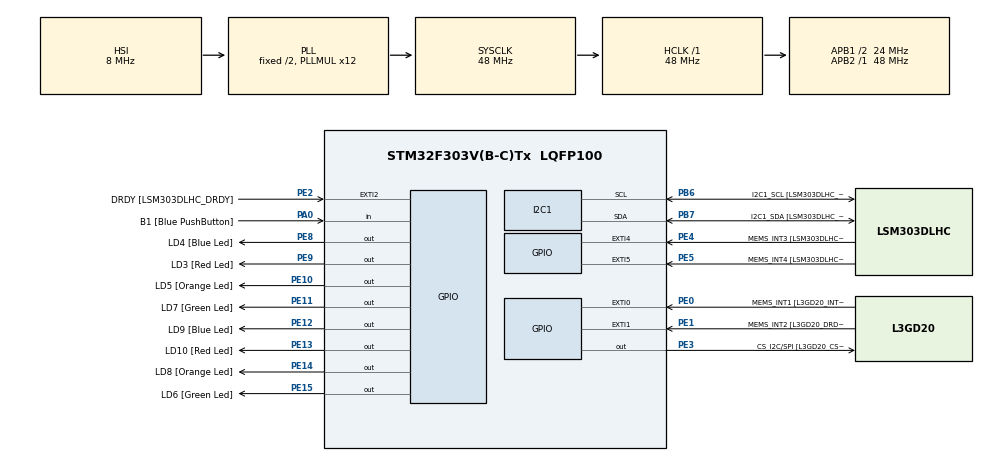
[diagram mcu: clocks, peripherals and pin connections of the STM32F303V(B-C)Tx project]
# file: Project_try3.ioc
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Mcu.Family=STM32F3
Mcu.Name=STM32F303V(B-C)Tx
Mcu.Package=LQFP100
NVIC.PriorityGroup=NVIC_PRIORITYGROUP_0
PA0.GPIO_Label=B1 [Blue PushButton]
PA0.GPIO_Mode=GPIO_MODE_INPUT
PA0.GPIO_PuPd=GPIO_NOPULL
PA0.Signal=GPIO_Input
PA11.GPIO_Label=DM
PA11.Signal=USB_DM
PA12.GPIO_Label=DP
PA12.Signal=USB_DP
PA13.GPIO_Label=SWDIO
PA13.Signal=SYS_JTMS-SWDIO
PA14.GPIO_Label=SWCLK
PA14.Signal=SYS_JTCK-SWCLK
PA5.GPIO_Label=SPI1_SCK [L3GD20_SCL/SPC]
PA5.GPIO_Mode=GPIO_MODE_AF_PP
PA5.GPIO_PuPd=GPIO_NOPULL
PA5.GPIO_Speed=GPIO_SPEED_FREQ_LOW
PA5.Signal=SPI1_SCK
PA6.GPIO_Label=SPI1_MISO [L3GD20_SA0/SDO]
PA6.GPIO_Mode=GPIO_MODE_AF_PP
PA6.GPIO_PuPd=GPIO_NOPULL
PA6.GPIO_Speed=GPIO_SPEED_FREQ_LOW
PA6.Signal=SPI1_MISO
PA7.GPIO_Label=SPI1_MISO [L3GD20_SDA/SDI/SDO]
PA7.GPIO_Mode=GPIO_MODE_AF_PP
PA7.GPIO_PuPd=GPIO_NOPULL
PA7.GPIO_Speed=GPIO_SPEED_FREQ_LOW
PA7.Signal=SPI1_MOSI
PB3.GPIO_Label=SWO
PB3.Signal=SYS_JTDO-TRACESWO
PB6.GPIO_FM6=__NULL
PB6.GPIO_Label=I2C1_SCL [LSM303DLHC_SCL]
PB6.GPIO_Mode=GPIO_MODE_AF_OD
PB6.GPIO_PuPd=GPIO_NOPULL
PB6.GPIO_Speed=GPIO_SPEED_FREQ_LOW
PB6.Mode=I2C
PB6.Signal=I2C1_SCL
PB7.GPIO_FM7=__NULL
PB7.GPIO_Label=I2C1_SDA [LSM303DLHC_SDA]
PB7.GPIO_Mode=GPIO_MODE_AF_OD
PB7.GPIO_PuPd=GPIO_NOPULL
PB7.GPIO_Speed=GPIO_SPEED_FREQ_LOW
PB7.Mode=I2C
PB7.Signal=I2C1_SDA
PC14-OSC32_IN.GPIO_Label=OSC32_IN
PC14-OSC32_IN.Signal=RCC_OSC32_IN
PC15-OSC32_OUT.GPIO_Label=OSC32_OUT
PC15-OSC32_OUT.Signal=RCC_OSC32_OUT
PE0.GPIO_Label=MEMS_INT1 [L3GD20_INT1]
PE0.GPIO_ModeDefaultEXTI=GPIO_MODE_EVT_RISING
PE0.GPIO_PuPd=GPIO_NOPULL
PE0.Signal=GPXTI0
PE1.GPIO_Label=MEMS_INT2 [L3GD20_DRDY/INT2]
PE1.GPIO_ModeDefaultEXTI=GPIO_MODE_EVT_RISING
PE1.GPIO_PuPd=GPIO_NOPULL
PE1.Signal=GPXTI1
PE10.GPIO_Label=LD5 [Orange Led]
PE10.GPIO_ModeDefaultOutputPP=GPIO_MODE_OUTPUT_PP
PE10.GPIO_PuPd=GPIO_NOPULL
PE10.GPIO_Speed=GPIO_SPEED_FREQ_LOW
PE10.Signal=GPIO_Output
PE11.GPIO_Label=LD7 [Green Led]
PE11.GPIO_ModeDefaultOutputPP=GPIO_MODE_OUTPUT_PP
PE11.GPIO_PuPd=GPIO_NOPULL
PE11.GPIO_Speed=GPIO_SPEED_FREQ_LOW
PE11.Signal=GPIO_Output
PE12.GPIO_Label=LD9 [Blue Led]
PE12.GPIO_ModeDefaultOutputPP=GPIO_MODE_OUTPUT_PP
PE12.GPIO_PuPd=GPIO_NOPULL
PE12.GPIO_Speed=GPIO_SPEED_FREQ_LOW
PE12.Signal=GPIO_Output
PE13.GPIO_Label=LD10 [Red Led]
PE13.GPIO_ModeDefaultOutputPP=GPIO_MODE_OUTPUT_PP
PE13.GPIO_PuPd=GPIO_NOPULL
PE13.GPIO_Speed=GPIO_SPEED_FREQ_LOW
PE13.Signal=GPIO_Output
PE14.GPIO_Label=LD8 [Orange Led]
PE14.GPIO_ModeDefaultOutputPP=GPIO_MODE_OUTPUT_PP
PE14.GPIO_PuPd=GPIO_NOPULL
PE14.GPIO_Speed=GPIO_SPEED_FREQ_LOW
PE14.Signal=GPIO_Output
PE15.GPIO_Label=LD6 [Green Led]
PE15.GPIO_ModeDefaultOutputPP=GPIO_MODE_OUTPUT_PP
PE15.GPIO_PuPd=GPIO_NOPULL
PE15.GPIO_Speed=GPIO_SPEED_FREQ_LOW
PE15.Signal=GPIO_Output
PE2.GPIO_Label=DRDY [LSM303DLHC_DRDY]
PE2.GPIO_ModeDefaultEXTI=GPIO_MODE_EVT_RISING
PE2.GPIO_PuPd=GPIO_NOPULL
PE2.Signal=GPXTI2
PE3.GPIO_Label=CS_I2C/SPI [L3GD20_CS_I2C/SPI]
PE3.GPIO_ModeDefaultOutputPP=GPIO_MODE_OUTPUT_PP
PE3.GPIO_PuPd=GPIO_NOPULL
PE3.GPIO_Speed=GPIO_SPEED_FREQ_LOW
PE3.Signal=GPIO_Output
PE4.GPIO_Label=MEMS_INT3 [LSM303DLHC_INT1]
PE4.GPIO_ModeDefaultEXTI=GPIO_MODE_EVT_RISING
PE4.GPIO_PuPd=GPIO_NOPULL
PE4.Signal=GPXTI4
PE5.GPIO_Label=MEMS_INT4 [LSM303DLHC_INT2]
PE5.GPIO_ModeDefaultEXTI=GPIO_MODE_EVT_RISING
PE5.GPIO_PuPd=GPIO_NOPULL
PE5.Signal=GPXTI5
PE8.GPIO_Label=LD4 [Blue Led]
PE8.GPIO_ModeDefaultOutputPP=GPIO_MODE_OUTPUT_PP
PE8.GPIO_PuPd=GPIO_NOPULL
PE8.GPIO_Speed=GPIO_SPEED_FREQ_LOW
PE8.Signal=GPIO_Output
PE9.GPIO_Label=LD3 [Red Led]
PE9.GPIO_ModeDefaultOutputPP=GPIO_MODE_OUTPUT_PP
PE9.GPIO_PuPd=GPIO_NOPULL
PE9.GPIO_Speed=GPIO_SPEED_FREQ_LOW
PE9.Signal=GPIO_Output
PF0-OSC_IN.GPIO_Label=OSC_IN
PF0-OSC_IN.Signal=RCC_OSC_IN
PF1-OSC_OUT.GPIO_Label=OSC_OUT
PF1-OSC_OUT.Signal=RCC_OSC_OUT
ProjectManager.HeapSize=0x200
ProjectManager.StackSize=0x400
ProjectManager.TargetToolchain=SW4STM32
RCC.AHBFreq_Value=48000000
RCC.APB1CLKDivider=RCC_HCLK_DIV2
RCC.APB1Freq_Value=24000000
RCC.APB1TimFreq_Value=48000000
RCC.APB2Freq_Value=48000000
RCC.APB2TimFreq_Value=48000000
RCC.CortexFreq_Value=48000000
RCC.HCLKFreq_Value=48000000
RCC.HSE_VALUE=8000000
RCC.HSI_VALUE=8000000
RCC.LSE_VALUE=32768
RCC.PLLMUL=RCC_PLL_MUL12
RCC.SYSCLKFreq_VALUE=48000000
RCC.SYSCLKSourceVirtual=RCC_SYSCLKSOURCE_PLLCLK
RCC.USBFreq_Value=48000000
board=STM32F3DISCOVERY

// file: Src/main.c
/**
  ******************************************************************************
  * File Name          : main.c
  * Description        : Main program body
  ******************************************************************************
  ** This notice applies to any and all portions of this file
  * that are not between comment pairs USER CODE BEGIN and
  * USER CODE END. Other portions of this file, whether
  * inserted by the user or by software development tools
  * are owned by their respective copyright owners.
  *
  * COPYRIGHT(c) 2017 STMicroelectronics
  *
  * Redistribution and use in source and binary forms, with or without modification,
  * are permitted provided that the following conditions are met:
  *   1. Redistributions of source code must retain the above copyright notice,
  *      this list of conditions and the following disclaimer.
  *   2. Redistributions in binary form must reproduce the above copyright notice,
  *      this list of conditions and the following disclaimer in the documentation
  *      and/or other materials provided with the distribution.
  *   3. Neither the name of STMicroelectronics nor the names of its contributors
  *      may be used to endorse or promote products derived from this software
  *      without specific prior written permission.
  *
  * THIS SOFTWARE IS PROVIDED BY THE COPYRIGHT HOLDERS AND CONTRIBUTORS "AS IS"
  * AND ANY EXPRESS OR IMPLIED WARRANTIES, INCLUDING, BUT NOT LIMITED TO, THE
  * IMPLIED WARRANTIES OF MERCHANTABILITY AND FITNESS FOR A PARTICULAR PURPOSE ARE
  * DISCLAIMED. IN NO EVENT SHALL THE COPYRIGHT HOLDER OR CONTRIBUTORS BE LIABLE
  * FOR ANY DIRECT, INDIRECT, INCIDENTAL, SPECIAL, EXEMPLARY, OR CONSEQUENTIAL
  * DAMAGES (INCLUDING, BUT NOT LIMITED TO, PROCUREMENT OF SUBSTITUTE GOODS OR
  * SERVICES; LOSS OF USE, DATA, OR PROFITS; OR BUSINESS INTERRUPTION) HOWEVER
  * CAUSED AND ON ANY THEORY OF LIABILITY, WHETHER IN CONTRACT, STRICT LIABILITY,
  * OR TORT (INCLUDING NEGLIGENCE OR OTHERWISE) ARISING IN ANY WAY OUT OF THE USE
  * OF THIS SOFTWARE, EVEN IF ADVISED OF THE POSSIBILITY OF SUCH DAMAGE.
  *
  ******************************************************************************
  */
#include "main.h"
#include "stm32f3xx_hal.h"
#include "i2c.h"
#include "gpio.h"

/* USER CODE BEGIN Includes */

#define I2C1_DEVICE_ADDRESS      0x68
uint8_t xBuffer[16];

#define read_sec 		xBuffer[0]&0xF
#define read_dsec 		(xBuffer[0]&(0xF<<4))>>4
#define read_min 		xBuffer[1]&0xF
#define	read_dmin 		(xBuffer[1]&(0xF<<4))>>4
#define read_hrs 		xBuffer[2]&0xF
#define read_dhrs 		(xBuffer[2]&(0xF<<4))>>4
#define read_day	 	xBuffer[3]&0xF

/* USER CODE END Includes */

/* USER CODE BEGIN PV */
/* Private variables ---------------------------------------------------------*/

/* USER CODE END PV */

void SystemClock_Config(void);

/* USER CODE BEGIN PFP */
/* Private function prototypes -----------------------------------------------*/

/* USER CODE END PFP */

/* USER CODE BEGIN 0 */

uint8_t scldel;
uint8_t sdadel;

void i2c_conf() {
    RCC -> AHBENR |= RCC_AHBENR_GPIOBEN;
    GPIOB -> OSPEEDR &= ~GPIO_OSPEEDER_OSPEEDR6 | ~GPIO_OSPEEDER_OSPEEDR7;
    GPIOB -> MODER |= GPIO_MODER_MODER6_1 | GPIO_MODER_MODER7_1;
    GPIOB -> OTYPER |= GPIO_OTYPER_OT_6 | GPIO_OTYPER_OT_7;
    GPIOB -> AFR[0] |= (4 << 24) | (4 << 28);

    RCC->APB1ENR |= RCC_APB1ENR_I2C1EN ;

    I2C1->CR1 |= I2C_CR1_ANFOFF;

    scldel = 4;
    sdadel = 5;
    I2C1->TIMINGR = 0xF0001317 | ((scldel & 0x0F) << 20) | ((sdadel & 0x0F) << 16);
    I2C1->CR2 |= (0x1E << 1);
    I2C1->CR1 |= I2C_CR1_PE;
}

void i2c_write_byte(uint8_t addr, uint8_t data) {
    I2C1->CR2 &= ~(I2C_CR2_RD_WRN);
    I2C1->CR2 |= I2C_CR2_START |  (2 << 16);
    while(I2C1->CR2 & I2C_CR2_START);
    I2C1->TXDR = addr;
    while (!(I2C1->ISR & I2C_ISR_TXE));

    I2C1->TXDR = data;
    while (!(I2C1->ISR & I2C_ISR_TXE));
    I2C1->CR2 |= I2C_CR2_STOP;
    while(I2C1->CR2 & I2C_CR2_STOP);
}

uint8_t i2c_read_byte(uint8_t addr) {
    uint8_t data = 0;

    I2C1->CR2 &= ~(I2C_CR2_RD_WRN);
    I2C1->CR2 &= ~(0xff << 16);
    I2C1->CR2 |= I2C_CR2_START | (1 << 16);
    while(I2C1->CR2 & I2C_CR2_START);

    I2C1->TXDR = addr;
    while (!(I2C1->ISR & I2C_ISR_TXE));

    I2C1->CR2 |= I2C_CR2_RD_WRN;
    I2C1->CR2 |= I2C_CR2_START | (1 << 16);
    while(I2C1->CR2 & I2C_CR2_START);
    while (!(I2C1->ISR & I2C_ISR_RXNE));
    data = I2C1->RXDR;
    I2C1->CR2 |= I2C_CR2_STOP;
    while(I2C1->CR2 & I2C_CR2_STOP);
    return data;
}

/* USER CODE END 0 */

int main(void)
{

  /* USER CODE BEGIN 1 */
  extern void initialise_monitor_handles(void);
  initialise_monitor_handles();
  /* USER CODE END 1 */

  /* MCU Configuration----------------------------------------------------------*/

  /* Reset of all peripherals, Initializes the Flash interface and the Systick. */
  HAL_Init();

  /* Configure the system clock */
  SystemClock_Config();

  /* Initialize all configured peripherals */
  MX_GPIO_Init();
  MX_I2C1_Init();

  /* Infinite loop */
  /* USER CODE BEGIN WHILE */
  //uint8_t regn[]={0};
  //uint8_t buf[16];
  int i = 1;

  /*configure correct time*/
  /*
   * uint8_t zero[] = {0};
   * uint8_t seconds[] = {0 << 4 | 0};
   * uint8_t minutes[] = {4 << 4 | 3};
   * uint8_t hours[] =   {0 << 4 | 2};
   * uint8_t days[] =    {2};

   * HAL_I2C_Mem_Write(&hi2c1, 0x68*2, 0, 1, seconds, 1, 500);  // seconds
   * HAL_I2C_Mem_Write(&hi2c1, 0x68*2, 1, 1, minutes, 1, 500);  // minutes
   * HAL_I2C_Mem_Write(&hi2c1, 0x68*2, 2, 1, hours, 1, 500);    // hours
   * HAL_I2C_Mem_Write(&hi2c1, 0x68*2, 3, 1, days, 1, 500);     // weekday
  **/

  /*setup alarm data*/

  /*****************/
  /*write here data you want to write to alarm*/
  int alarm_day = 1;

  int alarm_dhrs = 0;
  int alarm_hrs = 7;

  int alarm_dmin = 3;
  int alarm_min = 0;
  /*****************/

  uint8_t zero[] =      {0};
  uint8_t alarm_seconds[] =   {0 << 4 		| 0		| 0 << 7};
  uint8_t alarm_minutes[] =   {alarm_dmin << 4 	| alarm_min 	| 0 << 7};
  uint8_t alarm_hours[] =     {alarm_dhrs << 4 	| alarm_hrs 	| 0 << 7};
  uint8_t alarm_days[] =      {2};
  uint8_t alarm_week_day[] =  {1 << 6 | alarm_day | 0 << 7};

  HAL_I2C_Mem_Write(&hi2c1, 0x68*2, 7,   1, alarm_seconds,  1, 500); 	// seconds
  HAL_I2C_Mem_Write(&hi2c1, 0x68*2, 8,   1, alarm_minutes,  1, 500);  	// minutes
  HAL_I2C_Mem_Write(&hi2c1, 0x68*2, 9,   1, alarm_hours,    1, 500);    // hours
  HAL_I2C_Mem_Write(&hi2c1, 0x68*2, 0xA, 1, alarm_week_day, 1, 500);    // weekday

  HAL_I2C_Mem_Read(&hi2c1, 0x68*2, 0, 1, xBuffer, 0xB, 500);
  printf("\nalarm will sound at: \n");
  printf("weekday: %i\n", xBuffer[0xA]&0xF);
  printf("%i%i : %i%i : %i%i\n\n", (xBuffer[9]&(0xF<<4))>>4, xBuffer[9]&0xF, (xBuffer[8]&(0xF<<4))>>4, xBuffer[8]&0xF, (xBuffer[7]&(0xF<<4))>>4, xBuffer[7]&0xF);
  printf("-----\n");

  while (1)
  {
	 // HAL_StatusTypeDef res = HAL_I2C_Mem_Read(&hi2c1, 0x68*2, 0, 1, xBuffer, 4, 500);

	  printf("weekday: %i\n", read_day);
	  printf("%i%i : %i%i : %i%i\n\n", read_dhrs, read_hrs, read_dmin, read_min, read_dsec, read_sec);

	  HAL_I2C_Mem_Read(&hi2c1, 0x68*2, 0, 1, xBuffer, 0x10, 500);
	  while (!xBuffer[0xF]&0xF){}  // read pin which tells us about alarm activation

	  printf("-----\n");
	  printf("ALARM ALERT!!!\n");
	  printf("-----\n");
	  printf("alarm data:\n");
	  printf("weekday: %i\n", xBuffer[0xA]&0xF);
	  printf("%i%i : %i%i : %i%i\n\n", (xBuffer[9]&(0xF<<4))>>4, xBuffer[9]&0xF, (xBuffer[8]&(0xF<<4))>>4, xBuffer[8]&0xF, (xBuffer[7]&(0xF<<4))>>4, xBuffer[7]&0xF);
	  printf("-----\n");

	  continue;

	  /*OUTDATED*/
	  /* HOW TO GET DATA: DOCUMENTATION
	   * seconds:		xBuffer[0]&0xF
	   * 10 seconds:	(xBuffer[0]&(0xF<<4))>>4
	   *
	   * minutes:		xBuffer[1]&0xF
	   * 10 minutes:	(xBuffer[1]&(0xF<<4))>>4
	   *
	   * hours:		xBuffer[2]&0xF
	   * 10 hours:		(xBuffer[2]&(0xF<<4))>>4
	   *
	   * weekday (1-7):	xBuffer[3]&0xF
	   */

	  // first set the register pointer to the register wanted to be read
	  // HAL_StatusTypeDef res1 = HAL_I2C_Master_Transmit(&hi2c1, 0x68, regn, 1, 100);  // note the & operator which gives us the address of the register_pointer variable
	  // HAL_StatusTypeDef HAL_I2C_Mem_Read(I2C_HandleTypeDef *hi2c, uint16_t DevAddress, uint16_t MemAddress, uint16_t MemAddSize, uint8_t *pData, uint16_t Size, uint32_t Timeout);

	  HAL_StatusTypeDef res1 = HAL_I2C_Mem_Read(&hi2c1, i, 0, 1, xBuffer, 1, 500);
	  // receive the 2 x 8bit data into the receive buffer
	  // HAL_StatusTypeDef res2 = HAL_I2C_Master_Receive(&hi2c1, 0x68, xBuffer, 2, 100);

	// HAL_I2C_Mem_Write(&hi2c1, (uint16_t) I2C1_DEVICE_ADDRESS<<1, 0x00, 1, xBuffer, 1, 5);
	 // HAL_I2C_Mem_Read(&hi2c1, (uint16_t) I2C1_DEVICE_ADDRESS<<1, 0x00, 1, xBuffer, 1, 5);
	  if(res1 == 0)
		  printf("%x: %i, %d\n", i, res1, xBuffer[0]);
	  ++i;
	  if (i==256)
		  i = 1;
  /* USER CODE END WHILE */

  }

}

/** System Clock Configuration
*/
void SystemClock_Config(void)
{

  RCC_OscInitTypeDef RCC_OscInitStruct;
  RCC_ClkInitTypeDef RCC_ClkInitStruct;
  RCC_PeriphCLKInitTypeDef PeriphClkInit;

    /**Initializes the CPU, AHB and APB busses clocks
    */
  RCC_OscInitStruct.OscillatorType = RCC_OSCILLATORTYPE_HSI;
  RCC_OscInitStruct.HSIState = RCC_HSI_ON;
  RCC_OscInitStruct.HSICalibrationValue = 16;
  RCC_OscInitStruct.PLL.PLLState = RCC_PLL_ON;
  RCC_OscInitStruct.PLL.PLLSource = RCC_PLLSOURCE_HSI;
  RCC_OscInitStruct.PLL.PLLMUL = RCC_PLL_MUL12;
  if (HAL_RCC_OscConfig(&RCC_OscInitStruct) != HAL_OK)
  {
    _Error_Handler(__FILE__, __LINE__);
  }

    /**Initializes the CPU, AHB and APB busses clocks
    */
  RCC_ClkInitStruct.ClockType = RCC_CLOCKTYPE_HCLK|RCC_CLOCKTYPE_SYSCLK
                              |RCC_CLOCKTYPE_PCLK1|RCC_CLOCKTYPE_PCLK2;
  RCC_ClkInitStruct.SYSCLKSource = RCC_SYSCLKSOURCE_PLLCLK;
  RCC_ClkInitStruct.AHBCLKDivider = RCC_SYSCLK_DIV1;
  RCC_ClkInitStruct.APB1CLKDivider = RCC_HCLK_DIV2;
  RCC_ClkInitStruct.APB2CLKDivider = RCC_HCLK_DIV1;

  if (HAL_RCC_ClockConfig(&RCC_ClkInitStruct, FLASH_LATENCY_1) != HAL_OK)
  {
    _Error_Handler(__FILE__, __LINE__);
  }

  PeriphClkInit.PeriphClockSelection = RCC_PERIPHCLK_I2C1;
  PeriphClkInit.I2c1ClockSelection = RCC_I2C1CLKSOURCE_HSI;
  if (HAL_RCCEx_PeriphCLKConfig(&PeriphClkInit) != HAL_OK)
  {
    _Error_Handler(__FILE__, __LINE__);
  }

    /**Configure the Systick interrupt time
    */
  HAL_SYSTICK_Config(HAL_RCC_GetHCLKFreq()/1000);

    /**Configure the Systick
    */
  HAL_SYSTICK_CLKSourceConfig(SYSTICK_CLKSOURCE_HCLK);

  /* SysTick_IRQn interrupt configuration */
  HAL_NVIC_SetPriority(SysTick_IRQn, 0, 0);
}

void _Error_Handler(char * file, int line)
{
  while(1)
  {
  }
}

/************************ (C) COPYRIGHT STMicroelectronics *****END OF FILE****/
